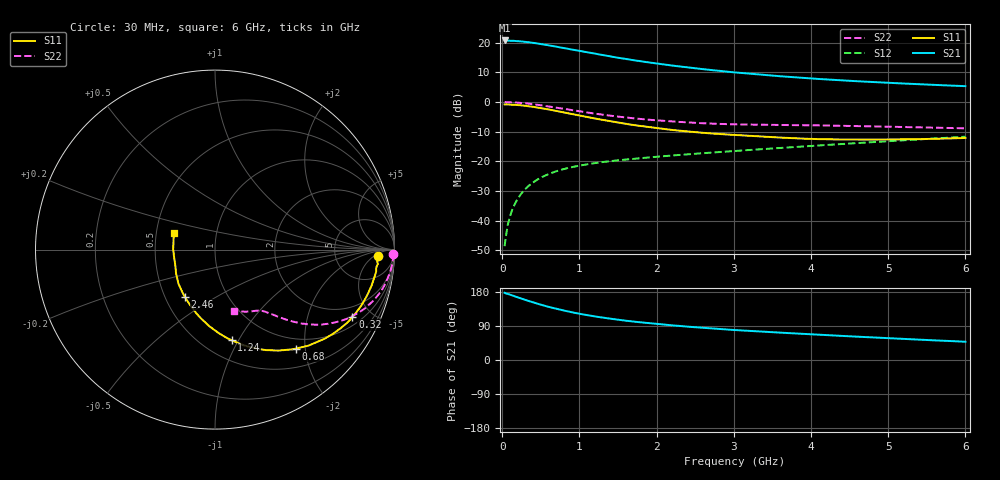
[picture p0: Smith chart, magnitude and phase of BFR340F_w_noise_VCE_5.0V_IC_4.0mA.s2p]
! Infineon Technologies  Discrete & RF Semiconductors
! BFR340F
! VCE =  5.0 V,  IC =  4.0 mA
! Common Emitter S-Parameters:  Nov 2015
# GHz  S  MA  R  50
!  f  S11  S21  S12  S22
! GHz  MAG  ANG  MAG  ANG  MAG  ANG  MAG  ANG
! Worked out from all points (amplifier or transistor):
!   206 points, 30 MHz to 6 GHz, reference 50 ohm
!   highest |S21| = 20.7 dB at 30 MHz (marker M1)
!   |S21| within 3 dB of that: start of sweep to 889.5 MHz
!   unconditionally stable (mu >= 1): 3.687 GHz to end of sweep
!   at 200 MHz: K = 0.10, MSG = 26.6 dB, |S12| = -32.7 dB
!   at 1.56 GHz: K = 0.67, MSG = 17.1 dB, |S12| = -19.5 dB
!   at 6 GHz: K = 1.01, MAG = 7.8 dB, |S12| = -11.7 dB
!   lowest NFmin = 1.00 dB at 900 MHz
!   S11 on the Smith chart (normalised r, x): 30 MHz: 17, -8; 320 MHz: 1.40, -3.84; 680 MHz: 0.81, -1.82; 1.24 GHz: 0.68, -0.94; 2.46 GHz: 0.63, -0.37; 6 GHz: 0.62, +0.12
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0.03  0.908 -2.4  10.85 177.4  0.0037 88.4  0.993 -1.5
0.05  0.9064 -4.2  10.76 175.4  0.0058 87.6  0.9925 -2.5
0.07  0.9054 -6.0  10.82 174.2  0.0084 86.8  0.9924 -3.6
0.08  0.9041 -6.7  10.78 173.9  0.0095 85.8  0.9916 -4.2
0.12  0.901 -10.0  10.73 171.1  0.0143 84.2  0.9868 -6.3
0.2  0.8853 -16.7  10.59 165.4  0.0233 80.6  0.9723 -10.3
0.32  0.8527 -26.1  10.21 157.2  0.0362 75.6  0.9403 -16.0
0.4  0.826 -32.0  9.893 152.0  0.044 72.7  0.9137 -19.4
0.5  0.7866 -39.2  9.462 145.9  0.053 69.2  0.8772 -23.4
0.6  0.7458 -45.9  9.006 140.2  0.0608 66.1  0.8387 -27.0
0.68  0.7116 -50.8  8.627 136.1  0.0664 64.1  0.8076 -29.4
0.88  0.6331 -62.2  7.723 126.8  0.0784 60.0  0.7334 -34.6
1.04  0.576 -70.4  7.067 120.6  0.0862 57.6  0.6808 -37.8
1.24  0.5136 -79.6  6.34 113.7  0.0946 55.6  0.6238 -41.0
1.4  0.4717 -86.5  5.829 109.0  0.1003 54.5  0.5847 -43.0
1.6  0.4266 -94.5  5.286 103.7  0.1069 53.7  0.545 -45.1
2.02  0.3589 -108.7  4.401 94.8  0.1195 53.2  0.4866 -48.2
2.46  0.3125 -122.5  3.738 87.1  0.1324 53.7  0.4465 -51.0
3.1  0.2725 -139.3  3.072 78.1  0.1515 54.7  0.4164 -54.7
4.1  0.2358 -160.7  2.435 66.7  0.1843 56.4  0.4018 -58.8
5.1  0.2329 177.3  2.069 56.6  0.2214 57.0  0.3797 -65.5
6  0.2467 158.3  1.842 48.2  0.2592 56.6  0.3586 -72.8
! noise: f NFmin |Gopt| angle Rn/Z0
0.45  1.01  0.55  3  0.35
0.9  1  0.53  12  0.38
1.9  1.26  0.4  21  0.34
2.4  1.35  0.37  30  0.33
